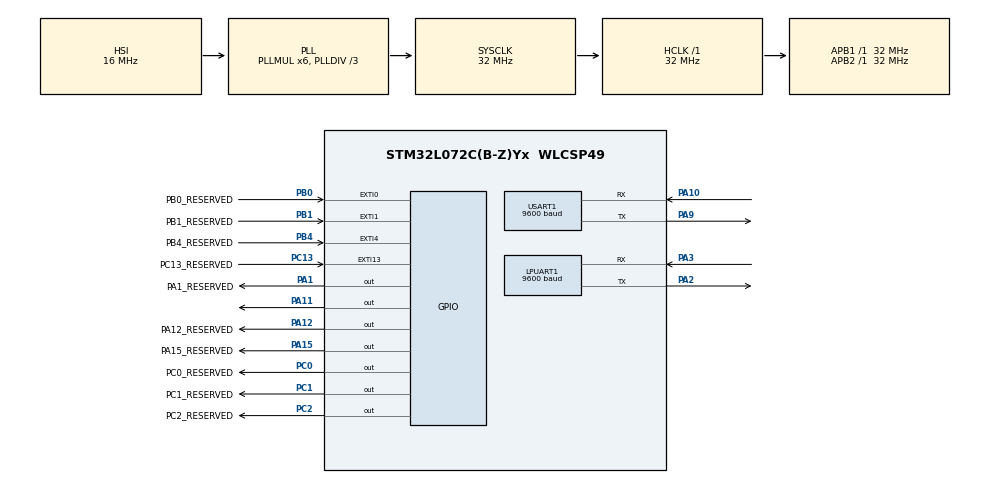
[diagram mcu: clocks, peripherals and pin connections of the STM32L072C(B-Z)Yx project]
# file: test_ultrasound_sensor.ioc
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LPUART1.BaudRate=9600
LPUART1.WordLength=UART_WORDLENGTH_8B
Mcu.Family=STM32L0
Mcu.Name=STM32L072C(B-Z)Yx
Mcu.Package=WLCSP49
NVIC.EXTI0_1_IRQn=true\:0\:0\:false\:false\:true\:true\:true
NVIC.EXTI4_15_IRQn=true\:0\:0\:false\:false\:true\:true\:true
NVIC.RTC_IRQn=true\:0\:0\:false\:false\:true\:true\:true
PA1.GPIO_Label=PA1_RESERVED
PA1.GPIO_Speed=GPIO_SPEED_FREQ_HIGH
PA1.PinState=GPIO_PIN_RESET
PA1.Signal=GPIO_Output
PA10.Mode=Asynchronous
PA10.Signal=USART1_RX
PA11.PinState=GPIO_PIN_SET
PA11.Signal=GPIO_Output
PA12.GPIO_Label=PA12_RESERVED
PA12.GPIO_Speed=GPIO_SPEED_FREQ_HIGH
PA12.Signal=GPIO_Output
PA15.GPIO_Label=PA15_RESERVED
PA15.GPIO_Speed=GPIO_SPEED_FREQ_HIGH
PA15.Signal=GPIO_Output
PA2.Mode=Asynchronous
PA2.Signal=LPUART1_TX
PA3.Mode=Asynchronous
PA3.Signal=LPUART1_RX
PA6.GPIO_Label=PA6_RESERVED
PA6.Signal=SPI1_MISO
PA7.GPIO_Label=PA7_RESERVED
PA7.Signal=SPI1_MOSI
PA9.Mode=Asynchronous
PA9.Signal=USART1_TX
PB0.GPIO_Label=PB0_RESERVED
PB0.Signal=GPXTI0
PB1.GPIO_Label=PB1_RESERVED
PB1.Signal=GPXTI1
PB3.GPIO_Label=PB3_RESERVED
PB3.Signal=SPI1_SCK
PB4.GPIO_Label=PB4_RESERVED
PB4.Signal=GPXTI4
PC0.GPIO_Label=PC0_RESERVED
PC0.GPIO_Speed=GPIO_SPEED_FREQ_HIGH
PC0.Signal=GPIO_Output
PC1.GPIO_Label=PC1_RESERVED
PC1.GPIO_Speed=GPIO_SPEED_FREQ_HIGH
PC1.Signal=GPIO_Output
PC13.GPIO_Label=PC13_RESERVED
PC13.Signal=GPXTI13
PC2.GPIO_Label=PC2_RESERVED
PC2.GPIO_Speed=GPIO_SPEED_FREQ_HIGH
PC2.Signal=GPIO_Output
PH0-OSC_IN.Signal=RCC_OSC_IN
PH1-OSC_OUT.Signal=RCC_OSC_OUT
ProjectManager.HeapSize=0x200
ProjectManager.StackSize=0x400
ProjectManager.TargetToolchain=STM32CubeIDE
RCC.AHBFreq_Value=32000000
RCC.APB1Freq_Value=32000000
RCC.APB1TimFreq_Value=32000000
RCC.APB2Freq_Value=32000000
RCC.APB2TimFreq_Value=32000000
RCC.HCLKFreq_Value=32000000
RCC.HSE_VALUE=8000000
RCC.HSI16_VALUE=16000000
RCC.HSI48_VALUE=48000000
RCC.HSI_VALUE=16000000
RCC.LSE_VALUE=32768
RCC.MSI_VALUE=2097000
RCC.PLLDIV=RCC_PLLDIV_3
RCC.PLLMUL=RCC_PLLMUL_6
RCC.SYSCLKFreq_VALUE=32000000
RCC.SYSCLKSource=RCC_SYSCLKSOURCE_PLLCLK
RCC.VCOOutputFreq_Value=96000000
RTC.Alarm-Alarm\ A=RTC_ALARM_A
RTC.AlarmSubSecondMask-Alarm\ A=RTC_ALARMSUBSECONDMASK_NONE
RTC.AsynchPrediv=31
RTC.Format=RTC_FORMAT_BIN
RTC.SynchPrediv=1023
USART1.BaudRate=9600
USART1.RxPinLevelInvertParam=ADVFEATURE_RXINV_ENABLE
USART1.VirtualMode-Asynchronous=VM_ASYNC
VP_RTC_VS_RTC_Activate.Mode=RTC_Enabled
VP_RTC_VS_RTC_Alarm_A_Intern.Mode=Alarm A
VP_RTC_VS_RTC_Calendar.Mode=RTC_Calendar
board=B-L072Z-LRWAN1

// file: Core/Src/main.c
/* USER CODE BEGIN Header */
/**
  ******************************************************************************
  * @file           : main.c
  * @brief          : Main program body
  ******************************************************************************
  * @attention
  *
  * <h2><center>&copy; Copyright (c) 2020 STMicroelectronics.
  * All rights reserved.</center></h2>
  *
  * This software component is licensed by ST under BSD 3-Clause license,
  * the "License"; You may not use this file except in compliance with the
  * License. You may obtain a copy of the License at:
  *                        opensource.org/licenses/BSD-3-Clause
  *
  ******************************************************************************
  */
/* USER CODE END Header */

#include "main.h"

/* USER CODE BEGIN Includes */
#include "stdio.h"
/* USER CODE END Includes */

UART_HandleTypeDef hlpuart1;
UART_HandleTypeDef huart1;

RTC_HandleTypeDef hrtc;

void SystemClock_Config(void);
static void MX_GPIO_Init(void);
static void MX_LPUART1_UART_Init(void);
static void MX_USART1_UART_Init(void);
static void MX_RTC_Init(void);

/* USER CODE BEGIN 0 */
#ifdef __GNUC__
  /* With GCC/RAISONANCE, small printf (option LD Linker->Libraries->Small printf
     set to 'Yes') calls __io_putchar() */
  #define PUTCHAR_PROTOTYPE int __io_putchar(int ch)
#else
  #define PUTCHAR_PROTOTYPE int fputc(int ch, FILE *f)
#endif /* __GNUC__ */

#define rxBuf_size 		5 	//5
uint8_t rxBuf[rxBuf_size];
HAL_StatusTypeDef UART1status;
uint8_t toto = 0;

/**
  * @brief  Retargets the C library printf function to the USART.
  * @param  None
  * @retval None
  */
PUTCHAR_PROTOTYPE
{
  /* Place your implementation of fputc here */
  /* e.g. write a character to the EVAL_COM1 and Loop until the end of transmission */
  HAL_UART_Transmit(&hlpuart1, (uint8_t *)&ch, 1, 0xFFFF);

  return ch;
}

/* USER CODE END 0 */

int main(void)
{

  /* MCU Configuration--------------------------------------------------------*/

  /* Reset of all peripherals, Initializes the Flash interface and the Systick. */
  HAL_Init();

  /* Configure the system clock */
  SystemClock_Config();

  /* Initialize all configured peripherals */
  MX_GPIO_Init();
  MX_LPUART1_UART_Init();
  MX_USART1_UART_Init();
  MX_RTC_Init();

  /* Infinite loop */
  /* USER CODE BEGIN WHILE */
  while (1)
  {

	//while(HAL_UART_GetState(&huart1) != HAL_OK || HAL_UART_GetState(&huart1) != HAL_TIMEOUT){
	  	  UART1status = HAL_UART_Receive(&huart1, (uint8_t *)rxBuf, rxBuf_size, HAL_MAX_DELAY); //HAL_MAX_DELAY
	  	  //make an echo to the console
	  	  for(int i = 0 ; i<rxBuf_size;i++){
		  	  HAL_UART_Transmit(&hlpuart1, &rxBuf[i], 1, HAL_MAX_DELAY);
	  	  }
	//}

    /* USER CODE END WHILE */

  }
}

void SystemClock_Config(void)
{
  RCC_OscInitTypeDef RCC_OscInitStruct = {0};
  RCC_ClkInitTypeDef RCC_ClkInitStruct = {0};
  RCC_PeriphCLKInitTypeDef PeriphClkInit = {0};

  /** Configure the main internal regulator output voltage
  */
  __HAL_PWR_VOLTAGESCALING_CONFIG(PWR_REGULATOR_VOLTAGE_SCALE1);
  /** Initializes the CPU, AHB and APB busses clocks
  */
  RCC_OscInitStruct.OscillatorType = RCC_OSCILLATORTYPE_HSI|RCC_OSCILLATORTYPE_LSI;
  RCC_OscInitStruct.HSIState = RCC_HSI_ON;
  RCC_OscInitStruct.HSICalibrationValue = RCC_HSICALIBRATION_DEFAULT;
  RCC_OscInitStruct.LSIState = RCC_LSI_ON;
  RCC_OscInitStruct.PLL.PLLState = RCC_PLL_ON;
  RCC_OscInitStruct.PLL.PLLSource = RCC_PLLSOURCE_HSI;
  RCC_OscInitStruct.PLL.PLLMUL = RCC_PLLMUL_6;
  RCC_OscInitStruct.PLL.PLLDIV = RCC_PLLDIV_3;
  if (HAL_RCC_OscConfig(&RCC_OscInitStruct) != HAL_OK)
  {
    Error_Handler();
  }
  /** Initializes the CPU, AHB and APB busses clocks
  */
  RCC_ClkInitStruct.ClockType = RCC_CLOCKTYPE_HCLK|RCC_CLOCKTYPE_SYSCLK
                              |RCC_CLOCKTYPE_PCLK1|RCC_CLOCKTYPE_PCLK2;
  RCC_ClkInitStruct.SYSCLKSource = RCC_SYSCLKSOURCE_PLLCLK;
  RCC_ClkInitStruct.AHBCLKDivider = RCC_SYSCLK_DIV1;
  RCC_ClkInitStruct.APB1CLKDivider = RCC_HCLK_DIV1;
  RCC_ClkInitStruct.APB2CLKDivider = RCC_HCLK_DIV1;

  if (HAL_RCC_ClockConfig(&RCC_ClkInitStruct, FLASH_LATENCY_1) != HAL_OK)
  {
    Error_Handler();
  }
  PeriphClkInit.PeriphClockSelection = RCC_PERIPHCLK_USART1|RCC_PERIPHCLK_LPUART1
                              |RCC_PERIPHCLK_RTC;
  PeriphClkInit.Usart1ClockSelection = RCC_USART1CLKSOURCE_PCLK2;
  PeriphClkInit.Lpuart1ClockSelection = RCC_LPUART1CLKSOURCE_PCLK1;
  PeriphClkInit.RTCClockSelection = RCC_RTCCLKSOURCE_LSI;
  if (HAL_RCCEx_PeriphCLKConfig(&PeriphClkInit) != HAL_OK)
  {
    Error_Handler();
  }
}

static void MX_LPUART1_UART_Init(void)
{

  hlpuart1.Instance = LPUART1;
  hlpuart1.Init.BaudRate = 9600; //9600
  hlpuart1.Init.WordLength = UART_WORDLENGTH_8B;
  hlpuart1.Init.StopBits = UART_STOPBITS_1;
  hlpuart1.Init.Parity = UART_PARITY_NONE;
  hlpuart1.Init.Mode = UART_MODE_TX_RX;
  hlpuart1.Init.HwFlowCtl = UART_HWCONTROL_NONE;
  hlpuart1.Init.OneBitSampling = UART_ONE_BIT_SAMPLE_DISABLE;
  hlpuart1.AdvancedInit.AdvFeatureInit = UART_ADVFEATURE_NO_INIT;
  if (HAL_UART_Init(&hlpuart1) != HAL_OK)
  {
    Error_Handler();
  }

}

static void MX_USART1_UART_Init(void)
{

  huart1.Instance = USART1;
  huart1.Init.BaudRate = 9600;
  huart1.Init.WordLength = UART_WORDLENGTH_8B;
  huart1.Init.StopBits = UART_STOPBITS_1;
  huart1.Init.Parity = UART_PARITY_NONE;
  huart1.Init.Mode = UART_MODE_TX_RX;
  huart1.Init.HwFlowCtl = UART_HWCONTROL_NONE;
  huart1.Init.OverSampling = UART_OVERSAMPLING_16;
  huart1.Init.OneBitSampling = UART_ONE_BIT_SAMPLE_DISABLE;
  huart1.AdvancedInit.AdvFeatureInit = UART_ADVFEATURE_RXINVERT_INIT;
  huart1.AdvancedInit.RxPinLevelInvert = UART_ADVFEATURE_RXINV_ENABLE;
  if (HAL_UART_Init(&huart1) != HAL_OK)
  {
    Error_Handler();
  }

}

static void MX_RTC_Init(void)
{

  RTC_TimeTypeDef sTime = {0};
  RTC_DateTypeDef sDate = {0};
  RTC_AlarmTypeDef sAlarm = {0};

  /** Initialize RTC Only
  */
  hrtc.Instance = RTC;
  hrtc.Init.HourFormat = RTC_HOURFORMAT_24;
  hrtc.Init.AsynchPrediv = 31;
  hrtc.Init.SynchPrediv = 1023;
  hrtc.Init.OutPut = RTC_OUTPUT_DISABLE;
  hrtc.Init.OutPutRemap = RTC_OUTPUT_REMAP_NONE;
  hrtc.Init.OutPutPolarity = RTC_OUTPUT_POLARITY_HIGH;
  hrtc.Init.OutPutType = RTC_OUTPUT_TYPE_OPENDRAIN;
  if (HAL_RTC_Init(&hrtc) != HAL_OK)
  {
    Error_Handler();
  }

  /** Initialize RTC and set the Time and Date
  */
  sTime.Hours = 0;
  sTime.Minutes = 0;
  sTime.Seconds = 0;
  sTime.DayLightSaving = RTC_DAYLIGHTSAVING_NONE;
  sTime.StoreOperation = RTC_STOREOPERATION_RESET;
  if (HAL_RTC_SetTime(&hrtc, &sTime, RTC_FORMAT_BIN) != HAL_OK)
  {
    Error_Handler();
  }
  sDate.WeekDay = RTC_WEEKDAY_MONDAY;
  sDate.Month = RTC_MONTH_JANUARY;
  sDate.Date = 1;
  sDate.Year = 0;

  if (HAL_RTC_SetDate(&hrtc, &sDate, RTC_FORMAT_BIN) != HAL_OK)
  {
    Error_Handler();
  }
  /** Enable the Alarm A
  */
  sAlarm.AlarmTime.Hours = 0;
  sAlarm.AlarmTime.Minutes = 0;
  sAlarm.AlarmTime.Seconds = 0;
  sAlarm.AlarmTime.SubSeconds = 0;
  sAlarm.AlarmTime.DayLightSaving = RTC_DAYLIGHTSAVING_NONE;
  sAlarm.AlarmTime.StoreOperation = RTC_STOREOPERATION_RESET;
  sAlarm.AlarmMask = RTC_ALARMMASK_NONE;
  sAlarm.AlarmSubSecondMask = RTC_ALARMSUBSECONDMASK_NONE;
  sAlarm.AlarmDateWeekDaySel = RTC_ALARMDATEWEEKDAYSEL_DATE;
  sAlarm.AlarmDateWeekDay = 1;
  sAlarm.Alarm = RTC_ALARM_A;
  if (HAL_RTC_SetAlarm_IT(&hrtc, &sAlarm, RTC_FORMAT_BIN) != HAL_OK)
  {
    Error_Handler();
  }

}

static void MX_GPIO_Init(void)
{
  GPIO_InitTypeDef GPIO_InitStruct = {0};

  /* GPIO Ports Clock Enable */
  __HAL_RCC_GPIOA_CLK_ENABLE();
  __HAL_RCC_GPIOB_CLK_ENABLE();
  __HAL_RCC_GPIOC_CLK_ENABLE();
  __HAL_RCC_GPIOH_CLK_ENABLE();

  /*Configure GPIO pin Output Level */
  HAL_GPIO_WritePin(GPIOA, PA15_RESERVED_Pin|PA12_RESERVED_Pin|PA1_RESERVED_Pin, GPIO_PIN_RESET);

  /*Configure GPIO pin Output Level */
  HAL_GPIO_WritePin(GPIOC, PC1_RESERVED_Pin|PC0_RESERVED_Pin|PC2_RESERVED_Pin, GPIO_PIN_RESET);

  /*Configure GPIO pin Output Level */
  HAL_GPIO_WritePin(GPIOA, GPIO_PIN_11, GPIO_PIN_SET);

  /*Configure GPIO pins : PA15_RESERVED_Pin PA12_RESERVED_Pin PA1_RESERVED_Pin */
  GPIO_InitStruct.Pin = PA15_RESERVED_Pin|PA12_RESERVED_Pin|PA1_RESERVED_Pin;
  GPIO_InitStruct.Mode = GPIO_MODE_OUTPUT_PP;
  GPIO_InitStruct.Pull = GPIO_NOPULL;
  GPIO_InitStruct.Speed = GPIO_SPEED_FREQ_HIGH;
  HAL_GPIO_Init(GPIOA, &GPIO_InitStruct);

  /*Configure GPIO pin : PB3_RESERVED_Pin */
  GPIO_InitStruct.Pin = PB3_RESERVED_Pin;
  GPIO_InitStruct.Mode = GPIO_MODE_AF_PP;
  GPIO_InitStruct.Pull = GPIO_NOPULL;
  GPIO_InitStruct.Speed = GPIO_SPEED_FREQ_VERY_HIGH;
  GPIO_InitStruct.Alternate = GPIO_AF0_SPI1;
  HAL_GPIO_Init(PB3_RESERVED_GPIO_Port, &GPIO_InitStruct);

  /*Configure GPIO pins : PB4_RESERVED_Pin PB1_RESERVED_Pin PB0_RESERVED_Pin */
  GPIO_InitStruct.Pin = PB4_RESERVED_Pin|PB1_RESERVED_Pin|PB0_RESERVED_Pin;
  GPIO_InitStruct.Mode = GPIO_MODE_IT_RISING;
  GPIO_InitStruct.Pull = GPIO_NOPULL;
  HAL_GPIO_Init(GPIOB, &GPIO_InitStruct);

  /*Configure GPIO pin : PC13_RESERVED_Pin */
  GPIO_InitStruct.Pin = PC13_RESERVED_Pin;
  GPIO_InitStruct.Mode = GPIO_MODE_IT_RISING;
  GPIO_InitStruct.Pull = GPIO_NOPULL;
  HAL_GPIO_Init(PC13_RESERVED_GPIO_Port, &GPIO_InitStruct);

  /*Configure GPIO pins : PC1_RESERVED_Pin PC0_RESERVED_Pin PC2_RESERVED_Pin */
  GPIO_InitStruct.Pin = PC1_RESERVED_Pin|PC0_RESERVED_Pin|PC2_RESERVED_Pin;
  GPIO_InitStruct.Mode = GPIO_MODE_OUTPUT_PP;
  GPIO_InitStruct.Pull = GPIO_NOPULL;
  GPIO_InitStruct.Speed = GPIO_SPEED_FREQ_HIGH;
  HAL_GPIO_Init(GPIOC, &GPIO_InitStruct);

  /*Configure GPIO pin : PA11 */
  GPIO_InitStruct.Pin = GPIO_PIN_11;
  GPIO_InitStruct.Mode = GPIO_MODE_OUTPUT_PP;
  GPIO_InitStruct.Pull = GPIO_NOPULL;
  GPIO_InitStruct.Speed = GPIO_SPEED_FREQ_LOW;
  HAL_GPIO_Init(GPIOA, &GPIO_InitStruct);

  /*Configure GPIO pins : PA7_RESERVED_Pin PA6_RESERVED_Pin */
  GPIO_InitStruct.Pin = PA7_RESERVED_Pin|PA6_RESERVED_Pin;
  GPIO_InitStruct.Mode = GPIO_MODE_AF_PP;
  GPIO_InitStruct.Pull = GPIO_NOPULL;
  GPIO_InitStruct.Speed = GPIO_SPEED_FREQ_VERY_HIGH;
  GPIO_InitStruct.Alternate = GPIO_AF0_SPI1;
  HAL_GPIO_Init(GPIOA, &GPIO_InitStruct);

  /* EXTI interrupt init*/
  HAL_NVIC_SetPriority(EXTI0_1_IRQn, 0, 0);
  HAL_NVIC_EnableIRQ(EXTI0_1_IRQn);

  HAL_NVIC_SetPriority(EXTI4_15_IRQn, 0, 0);
  HAL_NVIC_EnableIRQ(EXTI4_15_IRQn);

}

void Error_Handler(void)
{
}

/************************ (C) COPYRIGHT STMicroelectronics *****END OF FILE****/
